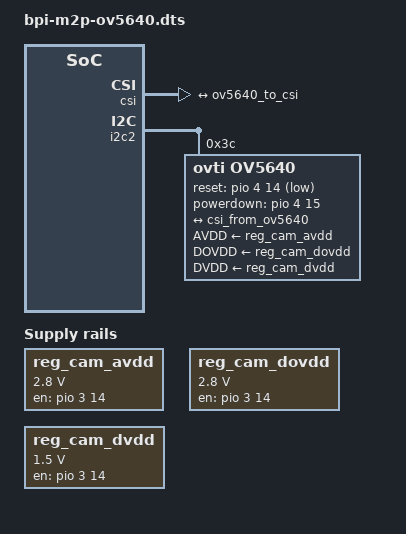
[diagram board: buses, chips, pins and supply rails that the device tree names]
// SPDX-License-Identifier: (GPL-2.0+ OR MIT)
//
// Copyright (C) 2018 Chen-Yu Tsai <wens@csie.org>
//
// Bananapi camera module based on OV5640

#ifdef __DTO_TEST__
#include <arm/sun8i-h3-bananapi-m2-plus.dts>
#else
/dts-v1/;
/plugin/;
#endif

#include <dt-bindings/clock/sun8i-h3-ccu.h>
#include <dt-bindings/gpio/gpio.h>

&{/} {
	reg_cam_avdd: cam-avdd {
		compatible = "regulator-fixed";
		regulator-name = "csi-avdd";
		regulator-min-microvolt = <2800000>;
		regulator-max-microvolt = <2800000>;
		startup-delay-us = <200>; /* 50 us + board delays */
		enable-active-high;
		gpio = <&pio 3 14 GPIO_ACTIVE_HIGH>; /* PD14 */
	};

	reg_cam_dovdd: cam-dovdd {
		compatible = "regulator-fixed";
		regulator-name = "csi-dovdd";
		regulator-min-microvolt = <2800000>;
		regulator-max-microvolt = <2800000>;
		/*
		 * This regulator also powers the pull-ups for the I2C bus.
		 * For some reason, if this is turned off, subsequent use
		 * of the I2C bus, even when turned on, does not work.
		 */
		startup-delay-us = <200>; /* 50 us + board delays */
		regulator-always-on;
		enable-active-high;
		gpio = <&pio 3 14 GPIO_ACTIVE_HIGH>; /* PD14 */
	};

	reg_cam_dvdd: cam-dvdd {
		compatible = "regulator-fixed";
		regulator-name = "csi-dvdd";
		regulator-min-microvolt = <1500000>;
		regulator-max-microvolt = <1500000>;
		startup-delay-us = <200>; /* 50 us + board delays */
		enable-active-high;
		gpio = <&pio 3 14 GPIO_ACTIVE_HIGH>; /* PD14 */
	};
};

&csi {
	status = "okay";

	port {
		/* Parallel bus endpoint */
		csi_from_ov5640: endpoint {
			remote-endpoint = <&ov5640_to_csi>;
			bus-width = <8>;
			hsync-active = <1>; /* Active high */
			vsync-active = <0>; /* Active low */
			data-active = <1>;  /* Active high */
			pclk-sample = <1>;  /* Rising */
		};
	};
};

&i2c2 {
	status = "okay";

	ov5640: camera@3c {
		compatible = "ovti,ov5640";
		reg = <0x3c>;
		pinctrl-names = "default";
		pinctrl-0 = <&csi_mclk_pin>;
		clocks = <&ccu CLK_CSI_MCLK>;
		clock-names = "xclk";

		reset-gpios = <&pio 4 14 GPIO_ACTIVE_LOW>; /* PE14 */
		powerdown-gpios = <&pio 4 15 GPIO_ACTIVE_HIGH>; /* PE15 */
		AVDD-supply = <&reg_cam_avdd>;
		DOVDD-supply = <&reg_cam_dovdd>;
		DVDD-supply = <&reg_cam_dvdd>;

		port {
			ov5640_to_csi: endpoint {
				remote-endpoint = <&csi_from_ov5640>;
				bus-width = <8>;
				data-shift = <2>;
				hsync-active = <1>; /* Active high */
				vsync-active = <0>; /* Active low */
				data-active = <1>;  /* Active high */
				pclk-sample = <1>;  /* Rising */
			};
		};
	};
};

&pio {
	csi_mclk_pin: csi-mclk {
		pins = "PE1";
		function = "csi";
	};
};
